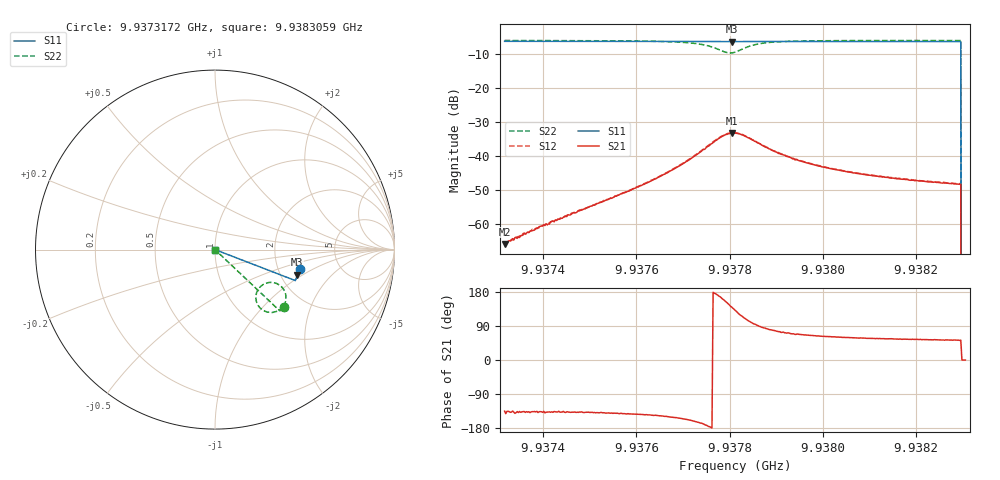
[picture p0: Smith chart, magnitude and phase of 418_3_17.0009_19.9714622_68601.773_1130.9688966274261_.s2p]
#  HZ  S  RI  R  50.00
! Rohde & Schwarz Vector Network Analyzer
! Rohde-Schwarz,ZNB20-2Port,1311601062101988,3.16
! Created: UTC 3/20/2024, 11:10:51 PM
! freq[Hz]  re:S11  im:S11  re:S21  im:S21  re:S12  im:S12  re:S22  im:S22
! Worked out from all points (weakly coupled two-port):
!   401 points, 9.9373172 GHz to 9.9383059 GHz, reference 50 ohm
!   highest |S21| = -33.24 dB at 9.9378041 GHz (marker M1); lowest = -65.8 dB at 9.9373172 GHz (marker M2)
!   lowest |S11| = -6.4 dB at 9.9378041 GHz (marker M3), VSWR 2.84, Z = 123 - j44.7 ohm
!   |S11| at or under -10 dB: 9.9382961 GHz to end of sweep
!   |S22| runs from - to -6.1 dB; largest |S21 - S12| = 0.00084
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9.93731718e9  0.4709 -0.1094  -0.000362 -0.000362  -0.000355 -0.000315  0.3829 -0.3179
9.93735426e9  0.47 -0.1122  -0.000495 -0.000467  -0.0005 -0.000463  0.3801 -0.3206
9.93739628e9  0.4692 -0.1148  -0.000681 -0.000646  -0.000682 -0.000647  0.3765 -0.3238
9.93748279e9  0.4674 -0.1208  -0.00118 -0.0011  -0.00122 -0.00108  0.3679 -0.3308
9.9375792e9  0.4651 -0.1271  -0.00238 -0.00182  -0.0024 -0.00181  0.3532 -0.3401
9.93764841e9  0.4634 -0.1319  -0.00413 -0.00267  -0.00423 -0.00264  0.3345 -0.3474
9.93769785e9  0.4619 -0.1352  -0.00682 -0.00324  -0.00703 -0.00318  0.3101 -0.3504
9.93774728e9  0.46 -0.1385  -0.0125 -0.00191  -0.0131 -0.00193  0.2628 -0.3347
9.93777695e9  0.4586 -0.1397  -0.0178 0.00357  -0.0181 0.00413  0.2295 -0.2844
9.93779178e9  0.4581 -0.1401  -0.0187 0.00892  -0.0186 0.00964  0.232 -0.2402
9.93780414e9  0.4578 -0.1402  -0.0167 0.014  -0.0165 0.0147  0.2544 -0.205
9.93781155e9  0.4579 -0.1405  -0.0144 0.0163  -0.0141 0.0169  0.2755 -0.1907
9.93782886e9  0.4584 -0.1411  -0.008 0.0186  -0.00748 0.0191  0.328 -0.1842
9.93786593e9  0.4585 -0.1437  0.000437 0.015  0.000836 0.015  0.3858 -0.2278
9.93790796e9  0.4578 -0.1469  0.00285 0.0105  0.00318 0.0104  0.3956 -0.2672
9.93793762e9  0.4571 -0.149  0.00327 0.00852  0.00345 0.00851  0.3941 -0.2839
9.93797717e9  0.456 -0.1519  0.00322 0.00687  0.00342 0.00683  0.3898 -0.2989
9.9380538e9  0.4541 -0.157  0.00298 0.00504  0.00313 0.00505  0.3813 -0.3159
9.93814278e9  0.4517 -0.1628  0.00267 0.00397  0.00279 0.00393  0.3729 -0.3279
9.9382911e9  0.4476 -0.1723  0.00236 0.00306  0.00245 0.00306  0.3616 -0.3411
9.93830346e9  0 0  0 0  0 0  0 0
9.93830593e9  0 0  0 0  0 0  0 0
